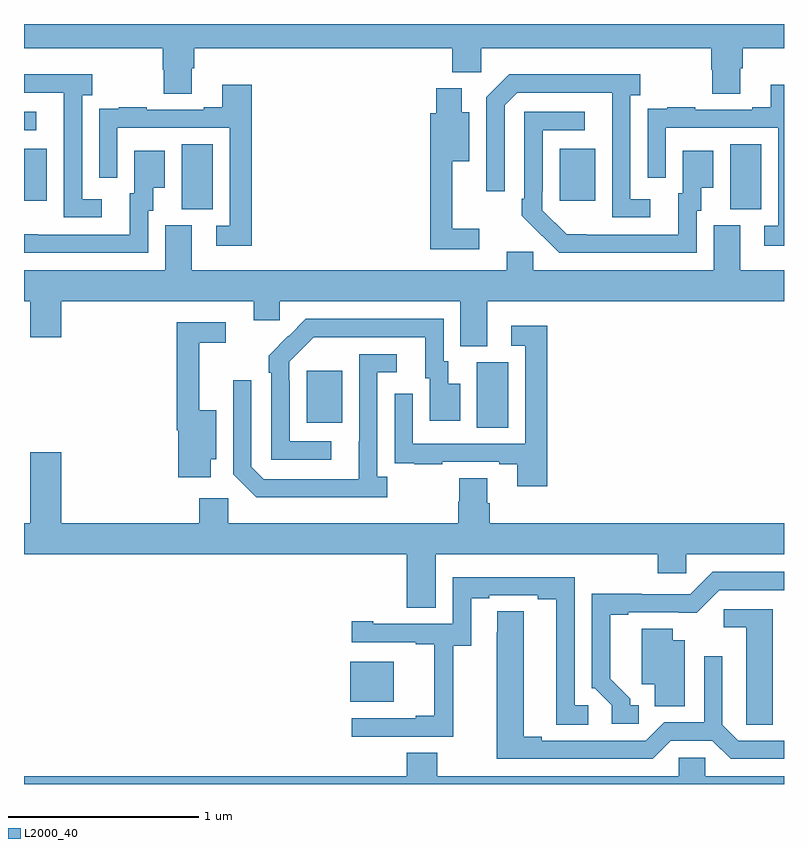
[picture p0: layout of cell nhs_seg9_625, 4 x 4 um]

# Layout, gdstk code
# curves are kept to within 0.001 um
import gdstk
lib = gdstk.Library(unit=1e-6, precision=1e-09)
def R(c, l, rs):  # rectangles x0, y0, x1, y1
    for r in rs: c.add(gdstk.rectangle(r[:2], r[2:], *l))
def P(c, l, *ps):  # polygons
    for p in ps: c.add(gdstk.Polygon(p, *l))
L2000_40 = (2000, 40)

nhs_seg9_625 = lib.new_cell('nhs_seg9_625')
R(nhs_seg9_625, L2000_40, [(142.718,1240.934,142.945,1241.143), (143.384,1242.376,143.548,1242.72), (142.487,1242.401,142.675,1242.676), (141.83,1243.525,141.994,1243.868), (144.716,1243.525,144.88,1243.868), (141,1243.569,141.121,1243.843), (143.819,1243.569,144.007,1243.843), (141,1243.941,141.064,1244.037)])
P(nhs_seg9_625, L2000_40, [(141.883,1244.266),(141.896,1244.266),(141.896,1244.372),(143.255,1244.372),(143.255,1244.246),(143.406,1244.246),(143.406,1244.372),(144.617,1244.372),(144.617,1244.259),(144.622,1244.259),(144.622,1244.134),(144.769,1244.134),(144.769,1244.266),(144.782,1244.266),(144.782,1244.372),(145,1244.372),(145,1244.5),(141,1244.5),(141,1244.372),(141.731,1244.372),(141.731,1244.259),(141.736,1244.259),(141.736,1244.134),(141.883,1244.134)],
  [(141.409,1243.578),(141.306,1243.578),(141.306,1244.126),(141.358,1244.126),(141.358,1244.236),(141,1244.236),(141,1244.139),(141.209,1244.139),(141.209,1243.939),(141.21,1243.939),(141.21,1243.482),(141.409,1243.482)],
  [(144.295,1243.578),(144.192,1243.578),(144.192,1244.126),(144.244,1244.126),(144.244,1244.236),(143.554,1244.236),(143.433,1244.115),(143.433,1243.62),(143.529,1243.62),(143.529,1244.073),(143.595,1244.139),(144.095,1244.139),(144.096,1243.482),(144.295,1243.482)],
  [(145,1244.179),(144.929,1244.179),(144.929,1244.062),(144.833,1244.062),(144.833,1244.049),(144.533,1244.049),(144.533,1244.062),(144.385,1244.062),(144.385,1244.055),(144.283,1244.055),(144.283,1243.946),(144.282,1243.946),(144.282,1243.692),(144.378,1243.692),(144.378,1243.953),(144.969,1243.953),(144.969,1243.437),(144.897,1243.437),(144.897,1243.332),(145,1243.332)],
  [(142.199,1244.179),(142.043,1244.179),(142.043,1244.062),(141.947,1244.062),(141.947,1244.049),(141.647,1244.049),(141.647,1244.062),(141.499,1244.062),(141.499,1244.055),(141.397,1244.055),(141.397,1243.946),(141.396,1243.946),(141.396,1243.692),(141.492,1243.692),(141.492,1243.953),(142.083,1243.953),(142.083,1243.437),(142.011,1243.437),(142.011,1243.332),(142.199,1243.332)],
  [(143.395,1243.423),(143.255,1243.423),(143.255,1243.778),(143.344,1243.778),(143.344,1244.035),(143.305,1244.035),(143.305,1244.161),(143.171,1244.161),(143.171,1244.031),(143.137,1244.031),(143.137,1243.314),(143.395,1243.314)],
  [(144.54,1243.518),(144.565,1243.518),(144.565,1243.637),(144.628,1243.637),(144.628,1243.834),(144.467,1243.834),(144.467,1243.608),(144.443,1243.608),(144.443,1243.392),(143.856,1243.393),(143.727,1243.521),(143.727,1243.621),(143.73,1243.621),(143.73,1243.941),(143.95,1243.941),(143.95,1244.037),(143.634,1244.037),(143.634,1243.579),(143.619,1243.579),(143.619,1243.491),(143.816,1243.296),(144.54,1243.296)],
  [(141.654,1243.518),(141.679,1243.518),(141.679,1243.637),(141.742,1243.637),(141.742,1243.834),(141.581,1243.834),(141.581,1243.608),(141.557,1243.608),(141.557,1243.392),(141.073,1243.392),(141.073,1243.393),(141,1243.393),(141,1243.296),(141.654,1243.296)],
  [(143.437,1243.04),(145,1243.04),(145,1243.204),(144.769,1243.204),(144.769,1243.44),(144.629,1243.44),(144.629,1243.204),(143.679,1243.204),(143.679,1243.302),(143.54,1243.302),(143.54,1243.204),(141.883,1243.204),(141.883,1243.44),(141.743,1243.44),(141.743,1243.204),(141,1243.204),(141,1243.04),(141.032,1243.04),(141.032,1242.852),(141.196,1242.852),(141.196,1243.04),(142.208,1243.04),(142.208,1242.942),(142.347,1242.942),(142.347,1243.04),(143.297,1243.04),(143.297,1242.805),(143.437,1242.805)],
  [(142.618,1242.303),(142.398,1242.303),(142.398,1242.623),(142.395,1242.623),(142.395,1242.723),(142.524,1242.852),(143.111,1242.852),(143.111,1242.636),(143.135,1242.636),(143.135,1242.411),(143.296,1242.411),(143.296,1242.607),(143.233,1242.607),(143.233,1242.726),(143.208,1242.726),(143.208,1242.948),(142.484,1242.948),(142.287,1242.753),(142.287,1242.665),(142.302,1242.665),(142.302,1242.207),(142.618,1242.207)],
  [(141.982,1242.209),(142.012,1242.209),(142.012,1242.466),(141.923,1242.466),(141.923,1242.822),(142.063,1242.822),(142.063,1242.93),(141.805,1242.93),(141.805,1242.362),(141.812,1242.362),(141.812,1242.114),(141.982,1242.114)],
  [(143.753,1242.913),(143.565,1242.913),(143.565,1242.807),(143.637,1242.807),(143.637,1242.291),(143.046,1242.291),(143.046,1242.553),(142.95,1242.553),(142.95,1242.298),(142.951,1242.298),(142.951,1242.189),(143.053,1242.189),(143.053,1242.183),(143.201,1242.183),(143.201,1242.195),(143.501,1242.195),(143.501,1242.183),(143.597,1242.183),(143.597,1242.066),(143.753,1242.066)],
  [(142.912,1242.118),(142.86,1242.118),(142.86,1242.666),(142.963,1242.666),(142.963,1242.762),(142.764,1242.762),(142.763,1242.105),(142.263,1242.105),(142.197,1242.171),(142.197,1242.625),(142.101,1242.625),(142.101,1242.129),(142.222,1242.008),(142.912,1242.008)],
  [(143.167,1241.708),(144.335,1241.708),(144.335,1241.61),(144.486,1241.61),(144.486,1241.708),(145,1241.708),(145,1241.872),(143.45,1241.872),(143.45,1241.978),(143.437,1241.978),(143.437,1242.11),(143.29,1242.11),(143.29,1241.985),(143.285,1241.985),(143.285,1241.872),(142.074,1241.872),(142.074,1242.004),(141.923,1242.004),(141.923,1241.872),(141.196,1241.872),(141.196,1242.247),(141.032,1242.247),(141.032,1241.872),(141,1241.872),(141,1241.708),(143.015,1241.708),(143.015,1241.428),(143.167,1241.428)],
  [(144.235,1240.914),(144.19,1240.914),(144.19,1240.949),(144.085,1241.054),(144.085,1241.391),(144.181,1241.391),(144.181,1241.403),(144.542,1241.402),(144.66,1241.52),(145,1241.52),(145,1241.616),(144.624,1241.616),(144.507,1241.499),(144.251,1241.499),(144.251,1241.501),(143.988,1241.501),(143.988,1241.004),(144.003,1241.004),(144.093,1240.914),(144.093,1240.818),(144.235,1240.818)],
  [(143.259,1241.227),(143.353,1241.227),(143.353,1241.478),(143.449,1241.478),(143.449,1241.493),(143.705,1241.493),(143.705,1241.473),(143.801,1241.473),(143.801,1240.813),(143.971,1240.813),(143.971,1240.914),(143.898,1240.914),(143.898,1241.589),(143.256,1241.589),(143.256,1241.343),(142.837,1241.343),(142.837,1241.356),(142.725,1241.356),(142.725,1241.247),(143.063,1241.247),(143.063,1241.235),(143.159,1241.235),(143.159,1240.858),(143.063,1240.858),(143.063,1240.845),(142.725,1240.845),(142.725,1240.749),(143.259,1240.749)],
  [(144.94,1241.421),(144.684,1241.421),(144.684,1241.324),(144.8,1241.324),(144.8,1240.921),(144.801,1240.921),(144.801,1240.813),(144.94,1240.813)],
  [(144.405,1240.728),(144.623,1240.728),(144.719,1240.632),(145,1240.632),(145,1240.728),(144.759,1240.728),(144.675,1240.812),(144.675,1241.173),(144.579,1241.173),(144.579,1240.824),(144.369,1240.824),(144.273,1240.728),(143.725,1240.728),(143.725,1240.748),(143.629,1240.748),(143.629,1241.408),(143.49,1241.408),(143.489,1240.632),(144.309,1240.632)],
  [(144.478,1241.257),(144.415,1241.257),(144.415,1241.318),(144.251,1241.318),(144.251,1241.024),(144.32,1241.024),(144.32,1240.909),(144.478,1240.909)],
  [(145,1240.54),(144.585,1240.54),(144.585,1240.638),(144.447,1240.638),(144.447,1240.54),(143.175,1240.54),(143.175,1240.664),(143.015,1240.664),(143.015,1240.54),(141,1240.54),(141,1240.5),(145,1240.5)])

lib.write_gds('nhs_seg9_625.gds')
